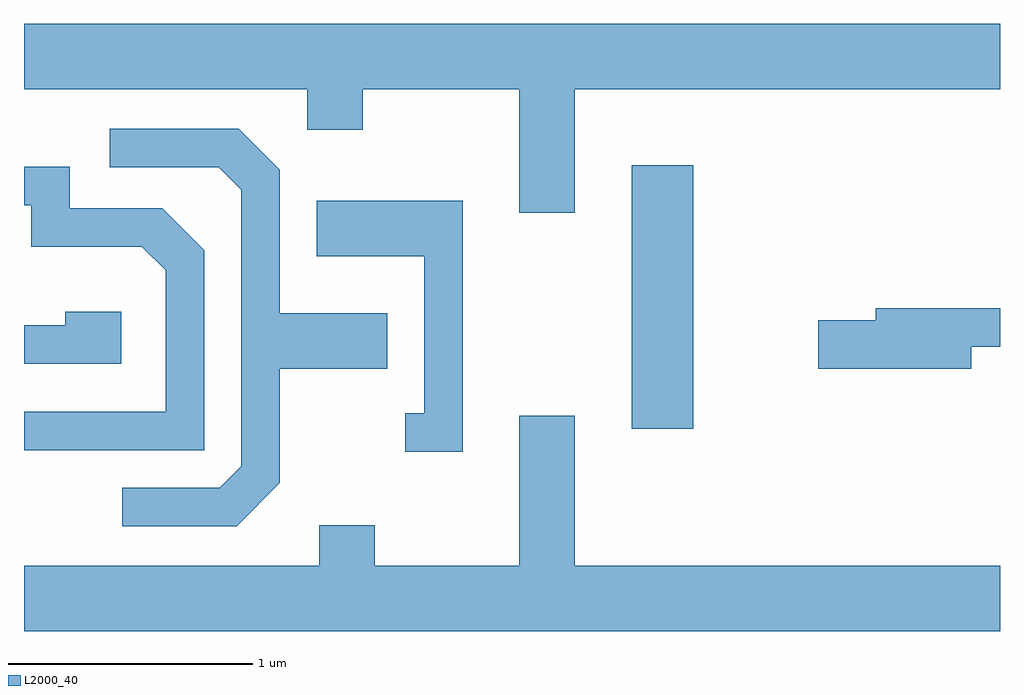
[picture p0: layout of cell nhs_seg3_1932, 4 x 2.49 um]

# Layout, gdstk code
import gdstk
lib = gdstk.Library(unit=1e-6, precision=1e-09)
def R(c, l, rs):  # rectangles x0, y0, x1, y1
    for r in rs: c.add(gdstk.rectangle(r[:2], r[2:], *l))
def P(c, l, *ps):  # polygons
    for p in ps: c.add(gdstk.Polygon(p, *l))
L2000_40 = (2000, 40)

nhs_seg3_1932 = lib.new_cell('nhs_seg3_1932')
R(nhs_seg3_1932, L2000_40, [(244.101,1173.466,244.354,1174.544)])
P(nhs_seg3_1932, L2000_40, [(243.869,1174.856),(245.611,1174.856),(245.611,1175.124),(241.611,1175.124),(241.611,1174.856),(242.771,1174.856),(242.771,1174.691),(242.999,1174.691),(242.999,1174.856),(243.641,1174.856),(243.641,1174.351),(243.869,1174.351)],
  [(242.659,1173.244),(242.659,1173.711),(243.099,1173.711),(243.099,1173.939),(242.659,1173.939),(242.659,1174.527),(242.492,1174.694),(241.963,1174.694),(241.963,1174.536),(242.409,1174.536),(242.501,1174.444),(242.501,1173.312),(242.414,1173.224),(242.013,1173.224),(242.013,1173.066),(242.482,1173.066)],
  [(242.349,1174.197),(242.177,1174.369),(241.799,1174.369),(241.799,1174.539),(241.611,1174.539),(241.611,1174.381),(241.641,1174.381),(241.641,1174.211),(242.094,1174.211),(242.191,1174.114),(242.191,1173.534),(241.611,1173.534),(241.611,1173.376),(242.349,1173.376)],
  [(243.409,1174.399),(242.811,1174.399),(242.811,1174.171),(243.251,1174.171),(243.251,1173.529),(243.173,1173.529),(243.173,1173.371),(243.409,1173.371)],
  [(245.494,1173.801),(245.611,1173.801),(245.611,1173.959),(245.101,1173.959),(245.101,1173.909),(244.866,1173.909),(244.866,1173.711),(245.494,1173.711)],
  [(242.009,1173.944),(241.781,1173.944),(241.781,1173.889),(241.611,1173.889),(241.611,1173.731),(242.009,1173.731)],
  [(245.611,1172.904),(243.869,1172.904),(243.869,1173.519),(243.641,1173.519),(243.641,1172.904),(243.049,1172.904),(243.049,1173.069),(242.821,1173.069),(242.821,1172.904),(241.611,1172.904),(241.611,1172.636),(245.611,1172.636)])

lib.write_gds('nhs_seg3_1932.gds')
